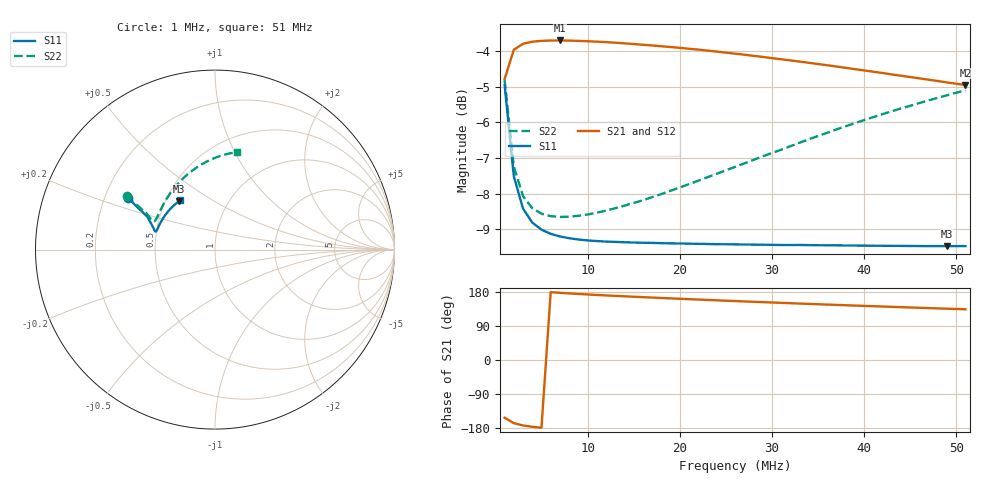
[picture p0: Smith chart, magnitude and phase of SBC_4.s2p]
# MHz S RI R 50
! S-Parameters data
! Freq  reS11  imS11  reS21  imS21  reS12  imS12  reS22  imS22
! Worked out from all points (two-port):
!   51 points, 1 MHz to 51 MHz, reference 50 ohm
!   highest |S21| = -3.69 dB at 7 MHz (marker M1); lowest = -4.9 dB at 51 MHz (marker M2)
!   |S21| within 3 dB of the highest: start of sweep to end of sweep
!   lowest |S11| = -9.5 dB at 49 MHz (marker M3), VSWR 2.01, Z = 29.3 + j17.8 ohm
!   |S11| at or under -10 dB: nowhere
!   |S22| runs from -8.7 to -4.8 dB; largest |S21 - S12| = 0.0026
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1  -0.4867 0.2887  -0.5109 -0.2684  -0.5083 -0.2684  -0.4924 0.297
2  -0.3783 0.1846  -0.6175 -0.1456  -0.6154 -0.1463  -0.3834 0.2042
3  -0.3526 0.1394  -0.6416 -0.082  -0.6397 -0.0827  -0.3566 0.1694
4  -0.3426 0.1181  -0.6498 -0.0422  -0.648 -0.0428  -0.3451 0.1582
5  -0.3374 0.1075  -0.6528 -0.0132  -0.6511 -0.0139  -0.3381 0.1574
6  -0.334 0.1024  -0.6536 0.0104  -0.6519 0.00937  -0.3325 0.1622
7  -0.3315 0.1006  -0.6531 0.0303  -0.6513 0.0294  -0.3275 0.1701
8  -0.3293 0.1009  -0.6517 0.0482  -0.65 0.0472  -0.3225 0.1799
10  -0.3255 0.105  -0.6472 0.08  -0.6456 0.0787  -0.3119 0.2026
12  -0.3218 0.112  -0.6412 0.1082  -0.6396 0.1069  -0.3002 0.2275
14  -0.3178 0.1206  -0.6336 0.1341  -0.6323 0.1324  -0.287 0.2532
18  -0.3087 0.14  -0.6158 0.1801  -0.6148 0.1789  -0.2563 0.3037
22  -0.2979 0.1601  -0.5946 0.222  -0.5936 0.2205  -0.22 0.3517
26  -0.2858 0.1797  -0.5703 0.2592  -0.5698 0.2576  -0.1792 0.3952
30  -0.2725 0.1985  -0.5439 0.2922  -0.5437 0.2907  -0.1352 0.4334
33  -0.2621 0.2119  -0.5233 0.3146  -0.5233 0.3131  -0.1006 0.4585
35  -0.2546 0.2204  -0.509 0.3285  -0.5093 0.327  -0.0765 0.4736
39  -0.2395 0.2362  -0.4799 0.353  -0.4805 0.3518  -0.0273 0.4993
43  -0.2239 0.2506  -0.4503 0.3744  -0.4513 0.3734  0.0222 0.5192
46  -0.2121 0.2603  -0.4284 0.3884  -0.4294 0.3874  0.0593 0.5305
49  -0.2003 0.2693  -0.4062 0.4008  -0.4072 0.4001  0.0963 0.5389
51  -0.1926 0.275  -0.3918 0.4083  -0.3928 0.4075  0.1207 0.543
